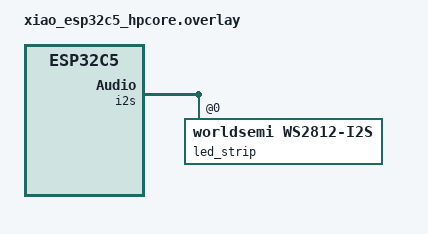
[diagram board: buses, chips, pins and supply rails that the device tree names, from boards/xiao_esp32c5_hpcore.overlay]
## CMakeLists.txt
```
# SPDX-License-Identifier: Apache-2.0

cmake_minimum_required(VERSION 3.20.0)

list(APPEND SNIPPET
  "wifi-credentials"
  "espressif-psram-8M"
  "espressif-psram-reloc" # Actually, there is no official support for this snippet on ESP32C5, yet.
  "espressif-psram-wifi"
)
set(SNIPPET "${SNIPPET}" CACHE STRING "Default snippets")

set(CONFIG_BUILD_OUTPUT_META y CACHE STRING "Enable build output metadata for SPDX")

find_package(Zephyr REQUIRED HINTS $ENV{ZEPHYR_BASE})
project(zephyr-wifi-led-mcp)

option(INCLUDE_HTML_CONTENT "Include the HTML content" ON)

target_link_libraries(app PRIVATE zephyr_interface zephyr)

# Include external headers
zephyr_include_directories(include)

# Include external utils
include(${ZEPHYR_BASE}/samples/net/common/common.cmake)

zephyr_linker_sources(SECTIONS sections-rom.ld)
zephyr_linker_section(
  NAME http_resource_desc_led_http_service
  KVMA RAM_REGION GROUP RODATA_REGION
)

# Generate web_assets.h from static web resources
add_custom_command(
  OUTPUT ${CMAKE_CURRENT_SOURCE_DIR}/include/web_assets.h
  COMMAND ${PYTHON_EXECUTABLE} ${CMAKE_CURRENT_SOURCE_DIR}/src/static_web_resources/embed_assets.py
  WORKING_DIRECTORY ${CMAKE_CURRENT_SOURCE_DIR}/src/static_web_resources
  DEPENDS
    ${CMAKE_CURRENT_SOURCE_DIR}/src/static_web_resources/index.html
    ${CMAKE_CURRENT_SOURCE_DIR}/src/static_web_resources/style.css
    ${CMAKE_CURRENT_SOURCE_DIR}/src/static_web_resources/app.js
    ${CMAKE_CURRENT_SOURCE_DIR}/src/static_web_resources/embed_assets.py
  COMMENT "Generating web_assets.h from static web resources"
)
add_custom_target(generate_web_assets DEPENDS ${CMAKE_CURRENT_SOURCE_DIR}/include/web_assets.h)
add_dependencies(app generate_web_assets)

FILE(GLOB app_sources src/*.c)
target_sources(app PRIVATE ${app_sources})
```

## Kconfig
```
# Copyright (c) 2019 Nordic Semiconductor ASA
# SPDX-License-Identifier: Apache-2.0

menu "WS2812 Configuration"

config LED_UPDATE_DELAY
	int "Delay between LED updates in ms"
	default 50
	help
	  Delay between LED updates in ms.

config LED_MATRIX_WIDTH
	int "Width of the LED matrix"
	default 16
	range 1 255
	help
	  Width of the LED matrix.

config LED_MATRIX_HEIGHT
	int "Height of the LED matrix"
	default 16
	range 1 255
	help
	  Height of the LED matrix.

config LED_MATRIX_PIXELS
	int "Number of pixels in the LED matrix"
	default 256
	range 1 65536
	help
	  Number of pixels in the LED matrix.

config WHITE_LED_BRIGHTNESS
	int "White LED brightness"
	default 15
	range 1 255
	help
	  Brightness level of the white LED settings (all RGB on). Defaults to a low value to avoid blinding
	  the user and issue with the power supply, due to the WS2812 LEDs draw more current when all are on.

config DEFAULT_LED_BRIGHTNESS
	int "Default LED brightness"
	default 15
	range 1 255
	help
	  Brightness level of each LED. Defaults to a low value to make
	  it easier to distinguish colors.

endmenu

menu "HTTP Service Configuration"

config NET_SAMPLE_HTTP_SERVICE
	bool "Enable http service"
	default y

config NET_SAMPLE_HTTP_SERVER_SERVICE_PORT
	int "Port number for http service"
	default 80
	depends on NET_SAMPLE_HTTP_SERVICE

endmenu

source "Kconfig.zephyr"
```

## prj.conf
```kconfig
# CONFIG_EARLY_CONSOLE=y

CONFIG_NETWORKING=y
CONFIG_TEST_RANDOM_GENERATOR=y

# CONFIG_MAIN_STACK_SIZE=5200
CONFIG_MAIN_STACK_SIZE=6000
CONFIG_SHELL_STACK_SIZE=5200
CONFIG_NET_TX_STACK_SIZE=4096
CONFIG_NET_RX_STACK_SIZE=4096

CONFIG_NET_MAX_CONTEXTS=16
CONFIG_NET_PKT_RX_COUNT=16
CONFIG_NET_PKT_TX_COUNT=16
CONFIG_NET_BUF_RX_COUNT=32
CONFIG_NET_BUF_TX_COUNT=32

CONFIG_NET_DHCPV4=y

CONFIG_NET_IPV4=y
CONFIG_NET_IPV6=n

CONFIG_NET_TCP=y

CONFIG_NET_LOG=y
CONFIG_INIT_STACKS=y

CONFIG_NET_SHELL=y

# CONFIG_NET_STATISTICS=y
# CONFIG_NET_STATISTICS_PERIODIC_OUTPUT=n

CONFIG_WIFI=y
CONFIG_WIFI_LOG_LEVEL_ERR=y
CONFIG_NET_L2_WIFI_SHELL=y
# printing of scan results puts pressure on queues in new locking
# design in net_mgmt. So, use a higher timeout for a crowded
# environment.
CONFIG_NET_MGMT_EVENT_QUEUE_TIMEOUT=5000
CONFIG_NET_MGMT_EVENT_QUEUE_SIZE=16

# Enable wifi statistics
CONFIG_NET_STATISTICS_WIFI=y
CONFIG_NET_STATISTICS_USER_API=y

# Wi-Fi Credentials Storage & Auto-Connect
CONFIG_WIFI_CREDENTIALS=y
CONFIG_WIFI_CREDENTIALS_CONNECT_STORED=y
CONFIG_FLASH=y
CONFIG_FLASH_PAGE_LAYOUT=y
CONFIG_FLASH_MAP=y
CONFIG_NVS=y
CONFIG_SETTINGS=y
CONFIG_SETTINGS_NVS=y

# Using Net common functions
CONFIG_NET_CONNECTION_MANAGER=y

# Issue related: <err> esp32c5_wifi_adapter: memory allocation failed
# CONFIG_HEAP_MEM_POOL_SIZE=61440 (new value in MCP)

### 
# ZBUS
###
CONFIG_ZBUS=y

### 
# LED Strip
###
CONFIG_LOG=y
CONFIG_LED_STRIP=y
CONFIG_LED_STRIP_LOG_LEVEL_DBG=y

###
# MCP
###
# MCP Server library
CONFIG_MCP_SERVER=y
CONFIG_MCP_MAX_TOOLS=4
CONFIG_MCP_REQUEST_WORKERS=2
CONFIG_MCP_SERVER_INFO_TITLE=y
CONFIG_MCP_SERVER_INFO_INSTRUCTIONS=n
CONFIG_MCP_TOOL_DESC=y
CONFIG_MCP_TOOL_TITLE=y
CONFIG_MCP_TOOL_OUTPUT_SCHEMA=n
CONFIG_MCP_TOOL_NAME_MAX_LEN=32
CONFIG_MCP_TOOL_SCHEMA_MAX_LEN=512
CONFIG_MCP_TOOL_INPUT_ARGS_MAX_LEN=512
CONFIG_MCP_TOOL_RESULT_MAX_LEN=256
CONFIG_MCP_LOG_LEVEL_DBG=y

CONFIG_MCP_HTTP_SSE_RETRY_MS=2000

# # RNG configuration
CONFIG_TEST_RANDOM_GENERATOR=y

# # Network configuration
# CONFIG_NETWORKING=y
# CONFIG_NET_IPV4=y
### CONFIG_NET_CONFIG_SETTINGS=y
CONFIG_NET_CONFIG_NEED_IPV4=y
# CONFIG_NET_DHCPV4=y

# # mDNS configs
CONFIG_MDNS_RESPONDER=y
CONFIG_NET_HOSTNAME_ENABLE=y
CONFIG_NET_HOSTNAME="mcp-led"

# # MCP HTTP server
CONFIG_MCP_HTTP_LOG_ADDRESS=y
CONFIG_MCP_HTTP_PORT=8080
CONFIG_MCP_HTTP_ENDPOINT="/mcp"
CONFIG_HTTP_SERVER_MAX_CLIENTS=3
CONFIG_HTTP_SERVER_MAX_STREAMS=3
CONFIG_HTTP_SERVER_MAX_HEADER_LEN=38

# # General configs
# CONFIG_HEAP_MEM_POOL_SIZE=65536
CONFIG_HEAP_MEM_POOL_SIZE=81920
# CONFIG_HEAP_MEM_POOL_SIZE=73728
CONFIG_KERNEL_MEM_POOL=y

## Test Thread Analyzer
# CONFIG_THREAD_ANALYZER=y
# CONFIG_THREAD_ANALYZER_AUTO=y
# CONFIG_THREAD_ANALYZER_USE_PRINTK=y
# CONFIG_THREAD_ANALYZER_AUTO_INTERVAL=10

# Enable reboot command in shell
CONFIG_REBOOT=y

## Optimization
CONFIG_SHELL_STACK_SIZE=2048
CONFIG_SYSTEM_WORKQUEUE_STACK_SIZE=2048
CONFIG_MAIN_STACK_SIZE=3072

###
# Adding HTTP Server
###
# HTTP parser
CONFIG_HTTP_PARSER_URL=y
CONFIG_HTTP_PARSER=y
CONFIG_HTTP_SERVER=y
# Networking & Sockets
CONFIG_NET_SOCKETS=y

# HTTP Server Library
CONFIG_HTTP_SERVER=y
CONFIG_HTTP_PARSER=y

# HTTP Server error: Out of connection contexts
# Sets TIME-WAIT duration in ms
CONFIG_NET_TCP_TIME_WAIT_DELAY=1500
CONFIG_ZVFS_EVENTFD_MAX=3
CONFIG_ZVFS_POLL_MAX=6
CONFIG_NET_MAX_CONN=16

# Enable Service Discover for mDNS
CONFIG_DNS_SD=y
CONFIG_MDNS_RESPONDER_DNS_SD=y
CONFIG_NET_SOCKETS=y
CONFIG_POSIX_API=y
CONFIG_NET_SOCKETS_SERVICE_STACK_SIZE=2048

# previous net_socket_service is 2048 and the use in Technaid is 86%
CONFIG_NET_SOCKETS_SERVICE_STACK_SIZE=4096

CONFIG_ESP32_WIFI_TASK_STACK_SIZE=4096
```

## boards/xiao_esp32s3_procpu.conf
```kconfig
CONFIG_SPIRAM_MODE_OCT=y

CONFIG_NET_PKT_RX_COUNT=32
CONFIG_NET_PKT_TX_COUNT=32
CONFIG_NET_BUF_RX_COUNT=64
CONFIG_NET_BUF_TX_COUNT=64
CONFIG_HEAP_MEM_POOL_SIZE=100000
CONFIG_NET_TX_STACK_SIZE=4096
CONFIG_NET_RX_STACK_SIZE=4096

# Issue with two or more wifi credential stored
CONFIG_SHELL_STACK_SIZE=3072
# CONFIG_LOG_PROCESS_THREAD_STACK_SIZE=1024
```

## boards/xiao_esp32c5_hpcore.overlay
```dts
/*
 * Copyright (c) 2024-2025 Espressif Systems (Shanghai) Co., Ltd.
 *
 * SPDX-License-Identifier: Apache-2.0
 */

#include <zephyr/dt-bindings/led/led.h>

/ {
	aliases {
		led-strip = &led_strip;
	};
};

&pinctrl {
	i2s_default: i2s_default {
		group1 {
			pinmux = <I2S_O_SD_GPIO8>;
		};
	};
};

&i2s {
	pinctrl-0 = <&i2s_default>;
	pinctrl-names = "default";
};

i2s_led: &i2s {
	status = "okay";

	dmas = <&dma 3>;
	dma-names = "tx";

	led_strip: ws2812@0 {
		compatible = "worldsemi,ws2812-i2s";

		reg = <0>;
		chain-length = <256>;
		color-mapping = <LED_COLOR_ID_GREEN
				 LED_COLOR_ID_RED
				 LED_COLOR_ID_BLUE>;
		reset-delay = <500>;
	};
};

&dma {
	status = "okay";
};
```

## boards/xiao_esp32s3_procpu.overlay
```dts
/*
 * Copyright (c) 2024-2025 Espressif Systems (Shanghai) Co., Ltd.
 *
 * SPDX-License-Identifier: Apache-2.0
 */

#include <zephyr/dt-bindings/led/led.h>

/ {
	aliases {
		led-strip = &led_strip;
	};
};

&pinctrl {
	i2s0_default: i2s0_default {
		group1 {
			pinmux = <I2S0_O_SD_GPIO7>;
		};
	};
};

&i2s0 {
	pinctrl-0 = <&i2s0_default>;
	pinctrl-names = "default";
};

i2s_led: &i2s0 {
	status = "okay";

	dmas = <&dma 3>;
	dma-names = "tx";

	led_strip: ws2812@0 {
		compatible = "worldsemi,ws2812-i2s";

		reg = <0>;
		chain-length = <256>;
		color-mapping = <LED_COLOR_ID_GREEN
				 LED_COLOR_ID_RED
				 LED_COLOR_ID_BLUE>;
		reset-delay = <500>;
	};
};

&dma {
	status = "okay";
};
```

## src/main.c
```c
/**
 * Copyright (c) 2026 Andres Camilo Román Vargas
 *
 * @file main.c
 * @author Andres C. Román V. (camilo.vargas@technaid.com gh: @andrescvargasr)
 * @brief
 * @version 1.1
 * @date 2026-07-24
 *
 * Main application entry point for MCP, LED, and Wi-Fi interfaces.
 *
 * SPDX-License-Identifier: MIT
 */

#include <zephyr/kernel.h>
#include <zephyr/sys/printk.h>
#include <zephyr/logging/log.h>
#include <zephyr/net/net_if.h>
#include <zephyr/net/net_mgmt.h>
#include <zephyr/net/wifi_mgmt.h>

#if defined(CONFIG_WIFI_CREDENTIALS)
#include <zephyr/net/wifi_credentials.h>
#endif

#if defined(CONFIG_ESP_SPIRAM)
#include <esp_psram.h>
#include <soc/soc_memory_layout.h>
#include <zephyr/multi_heap/shared_multi_heap.h>
#endif

// MCP Server
#include "mcp_server.h"

// HTTP Server
#include <stdio.h>
#include <inttypes.h>

#include <zephyr/net/http/server.h>
#include <zephyr/net/http/service.h>
#include <zephyr/net/net_ip.h>
#include <zephyr/net/socket.h>
#include <zephyr/sys/util.h>
#include <zephyr/data/json.h>
#include <zephyr/sys/util_macro.h>
#include <zephyr/net/net_config.h>
#include "web_assets.h"

// mDNS
#include "mdns_service.h"

#include "params.h"
#include <zephyr/zbus/zbus.h>
#include "led_zbus.h"

// Include external utils
#include "net_sample_common.h"

LOG_MODULE_REGISTER(wifi_test, LOG_LEVEL_INF);

// HTTP Server

struct led_command {
    uint32_t r;
    uint32_t g;
    uint32_t b;
	uint32_t index;
    bool rainbow;
};

static const struct json_obj_descr led_command_descr[] = {
	JSON_OBJ_DESCR_PRIM(struct led_command, r, JSON_TOK_NUMBER),
	JSON_OBJ_DESCR_PRIM(struct led_command, g, JSON_TOK_NUMBER),
	JSON_OBJ_DESCR_PRIM(struct led_command, b, JSON_TOK_NUMBER),
	JSON_OBJ_DESCR_PRIM(struct led_command, index, JSON_TOK_NUMBER),
	JSON_OBJ_DESCR_PRIM(struct led_command, rainbow, JSON_TOK_TRUE),
};

/* Handlers to return files with correct Content-Type and Gzip headers */

// index.html
static struct http_resource_detail_static index_html_gz_resource_detail = {
	.common = {
			.type = HTTP_RESOURCE_TYPE_STATIC,
			.bitmask_of_supported_http_methods = BIT(HTTP_GET),
			.content_encoding = "gzip",
			.content_type = "text/html",
		},
	.static_data = index_html_gz,
	// .static_data_len = sizeof(index_html_gz),
	.static_data_len = index_html_gz_len,
};

// app.js
static struct http_resource_detail_static app_js_gz_resource_detail = {
	.common = {
			.type = HTTP_RESOURCE_TYPE_STATIC,
			.bitmask_of_supported_http_methods = BIT(HTTP_GET),
			.content_encoding = "gzip",
			.content_type = "text/javascript",
		},
	.static_data = app_js_gz,
	.static_data_len = app_js_gz_len,
	// .static_data_len = sizeof(app_js_gz),
};

// style.css
static struct http_resource_detail_static style_css_gz_resource_detail = {
	.common = {
			.type = HTTP_RESOURCE_TYPE_STATIC,
			.bitmask_of_supported_http_methods = BIT(HTTP_GET),
			.content_encoding = "gzip",
			.content_type = "text/css",
		},
	.static_data = style_css_gz,
	.static_data_len = style_css_gz_len,
};

// ping
static const char ping_response[] = "pong";

static struct http_resource_detail_static ping_resource_detail = {
	.common = {
			.type = HTTP_RESOURCE_TYPE_STATIC,
			.bitmask_of_supported_http_methods = BIT(HTTP_GET) | BIT(HTTP_HEAD) | BIT(HTTP_POST),
			.content_type = "text/plain",
		},
	.static_data = ping_response,
	.static_data_len = sizeof(ping_response) - 1,
};


static void parse_led_post(uint8_t *buf, size_t len)
{
	int ret;
	struct led_command cmd;
	const int expected_return_code = BIT_MASK(ARRAY_SIZE(led_command_descr));

	ret = json_obj_parse(buf, len, led_command_descr, ARRAY_SIZE(led_command_descr), &cmd);
	if (ret != expected_return_code) {
		LOG_WRN("Failed to fully parse JSON payload, ret=%d", ret);
		return;
	}

	LOG_DBG("POST request setting LED to state r: %d, g: %d, b: %d, index: %d, rainbow: %s", cmd.r, cmd.g, cmd.b, cmd.index, cmd.rainbow ? "true" : "false");

	// If r,g,b is greater than CONFIG_WHITE_LED_BRIGHTNESS to built white color, clamp it
	uint8_t brightness = CONFIG_WHITE_LED_BRIGHTNESS;
	if (cmd.r > brightness && cmd.g > brightness && cmd.b > brightness) {
		cmd.r = brightness;
		cmd.g = brightness;
		cmd.b = brightness;
	}

	struct led_msg msg = {
		.action = LED_ACTION_CUSTOM,
		.r = (uint8_t)CLAMP(cmd.r, 0, 255),
		.g = (uint8_t)CLAMP(cmd.g, 0, 255),
		.b = (uint8_t)CLAMP(cmd.b, 0, 255),
		.index = (uint16_t)CLAMP(cmd.index, 0, CONFIG_LED_MATRIX_PIXELS),
		.rainbow = cmd.rainbow
	};

	int pub_rc = zbus_chan_pub(&led_chan, &msg, K_MSEC(200));
	if (pub_rc != 0) {
		LOG_ERR("Failed to publish LED command to Zbus: %d", pub_rc);
	}
}

static int led_handler(struct http_client_ctx *client, enum http_transaction_status status,
		       const struct http_request_ctx *request_ctx,
		       struct http_response_ctx *response_ctx, void *user_data)
{
	static uint8_t post_payload_buf[64];
	static size_t cursor;

	LOG_DBG("LED handler status %d, size %zu", status, request_ctx->data_len);

	if (status == HTTP_SERVER_TRANSACTION_ABORTED ||
	    status == HTTP_SERVER_TRANSACTION_COMPLETE) {
		cursor = 0;
		return 0;
	}

	if (client->method == HTTP_GET) {
		LOG_INF("GET request on LED resource");
		return 0;
	}

	if (request_ctx->data_len + cursor > sizeof(post_payload_buf)) {
		cursor = 0;
		return -ENOMEM;
	}

	/* Copy payload to our buffer. Note that even for a small payload, it may arrive split into
	 * chunks (e.g. if the header size was such that the whole HTTP request exceeds the size of
	 * the client buffer).
	 */
	memcpy(post_payload_buf + cursor, request_ctx->data, request_ctx->data_len);
	cursor += request_ctx->data_len;

	if (status == HTTP_SERVER_REQUEST_DATA_FINAL) {
		parse_led_post(post_payload_buf, cursor);
		cursor = 0;
	}

	return 0;
}

// LED POST & GET
static struct http_resource_detail_dynamic led_resource_detail = {
	.common = {
			.type = HTTP_RESOURCE_TYPE_DYNAMIC,
			.bitmask_of_supported_http_methods = BIT(HTTP_GET) | BIT(HTTP_POST),
		},
	.cb = led_handler,
	.user_data = NULL,
};

/* Define HTTP Service */
static uint16_t led_http_service_port = CONFIG_NET_SAMPLE_HTTP_SERVER_SERVICE_PORT;
HTTP_SERVICE_DEFINE(led_http_service, NULL, &led_http_service_port,
		    CONFIG_HTTP_SERVER_MAX_CLIENTS, 10, NULL, NULL, NULL);
/* Register static endpoints */
HTTP_RESOURCE_DEFINE(index_html_gz_resource, led_http_service, "/",
		     &index_html_gz_resource_detail);
HTTP_RESOURCE_DEFINE(app_js_gz_resource, led_http_service, "/app.js",
		     &app_js_gz_resource_detail);
HTTP_RESOURCE_DEFINE(style_css_gz_resource, led_http_service, "/style.css",
		     &style_css_gz_resource_detail);

/* Register API Endpoint */
HTTP_RESOURCE_DEFINE(res_api_led, led_http_service, "/api/led", &led_resource_detail);
HTTP_RESOURCE_DEFINE(res_ping, led_http_service, "/api/ping", &ping_resource_detail);

/**
 * @brief Auto-connect to Wi-Fi using credentials saved in flash memory.
 *
 * @return 0 on success, or negative error code on failure.
 */
int auto_connect(void)
{
	struct net_if *iface = net_if_get_wifi_sta();

	if (!iface) {
		LOG_ERR("No Wi-Fi STA interface available for auto-connect");
		return -ENODEV;
	}

#if defined(CONFIG_WIFI_CREDENTIALS)
	if (wifi_credentials_is_empty()) {
		LOG_INF("No stored Wi-Fi credentials found in flash memory");
		return -ENOENT;
	}
#endif

	LOG_INF("Attempting auto-connect with stored Wi-Fi credentials...");
	int ret = net_mgmt(NET_REQUEST_WIFI_CONNECT_STORED, iface, NULL, 0);

	if (ret != 0) {
		LOG_ERR("Auto-connect request failed (err: %d)", ret);
	} else {
		LOG_INF("Auto-connect request submitted successfully");
	}

	return ret;
}

int main(void)
{
#if defined(CONFIG_ESP_SPIRAM)
	if (esp_psram_is_initialized()) {
		printk("PSRAM size: %zu bytes (%zu MB)\n",
		       esp_psram_get_size(),
		       esp_psram_get_size() / (1024 * 1024));
	} else {
		printk("PSRAM is not initialized\n");
	}

#elif DT_NODE_EXISTS(DT_NODELABEL(psram0))
	printk("PSRAM node size (not used): %u bytes (%u MB)\n",
	       DT_PROP(DT_NODELABEL(psram0), size),
	       DT_PROP(DT_NODELABEL(psram0), size) / (1024 * 1024));
#else
	LOG_WRN("PSRAM not available");
#endif

	LOG_INF("Starting Wi-Fi MCP LED Server application...");

	/* Trigger auto-connect on startup */
	auto_connect();

	LOG_INF("Waiting for Wi-Fi connection and IP address");
	wait_for_network();	// From Zephyr net/common in CMakeLists.txt

	LOG_INF("Wi-Fi connected! Set MCP server");
	mcp_server();

	LOG_INF("Set HTTP server");
	http_server_start();
	
	LOG_INF("Set mDNS service");
	mdns_service();

	return 0;
}
```

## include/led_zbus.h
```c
/**
 * Copyright (c) 2026 Andrés Camilo Román Vargas
 *
 * @file led_zbus.h
 * @author Andres C. Román V. (camilo.vargas@technaid.com gh: @andrescvargasr)
 * @brief Zbus channels and messages for LED strip control.
 * @version 0.1
 * @date 2026-07-28
 *
 * SPDX-License-Identifier: MIT
 */

#ifndef LED_ZBUS_H
#define LED_ZBUS_H

#include <zephyr/zbus/zbus.h>

enum led_action {
	LED_ACTION_OFF = 0,
	LED_ACTION_ON,
	LED_ACTION_TOGGLE,
	LED_ACTION_RED,
	LED_ACTION_GREEN,
	LED_ACTION_BLUE,
	LED_ACTION_CUSTOM,
};

struct led_msg {
	enum led_action action;
	uint8_t r;
	uint8_t g;
	uint8_t b;
	uint16_t index;
	bool rainbow;
};

struct led_ready_msg {
	bool is_ready;
	int status;
};

ZBUS_CHAN_DECLARE(led_chan);
ZBUS_CHAN_DECLARE(led_ready_chan);

#endif /* LED_ZBUS_H */
```

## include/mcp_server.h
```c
/**
 * Copyright (c) 2026 Andrés Camilo Román Vargas
 *
 * @file mcp_server.h
 * @author Andres C. Román V. (camilo.vargas@technaid.com gh: @andrescvargasr)
 * @brief MCP Server implementation.
 * @version 0.1
 * @date 2026-07-24
 *
 * SPDX-License-Identifier: MIT
 */

#ifndef MCP_SERVER_H
#define MCP_SERVER_H

#include "params.h"

int mcp_server(void);

#endif // End MCP_SERVER_H
```

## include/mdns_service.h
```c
/**
 * Copyright (c) 2026 Andrés Camilo Román Vargas
 *
 * @file mdns_service.h
 * @author Andres C. Román V. (camilo.vargas@technaid.com gh: @andrescvargasr)
 * @brief mDNS Service Discover.
 *      Requirements:
 *      - CONFIG_DNS_SD
 *      - CONFIG_MDNS_RESPONDER_DNS_SD
 *      - CONFIG_NET_SOCKETS
 *      - CONFIG_POSIX_API
 * @version 0.1
 * @date 2026-08-06
 *
 * SPDX-License-Identifier: MIT
 */

#ifndef MDNS_SERVICE_H
#define MDNS_SERVICE_H

void mdns_service(void);

#endif // End MCP_SERVER_H
```

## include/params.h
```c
/**
 * Copyright (c) 2026 Andrés Camilo Román Vargas
 *
 * @file params.h
 * @author Andres C. Román V. (camilo.vargas@technaid.com gh: @andrescvargasr)
 * @brief Call the libraries, constants and parameters for all the code.
 * @version 0.1
 * @date 2026-07-28
 *
 * SPDX-License-Identifier: MIT
 */

#ifndef PARAMS_H
#define PARAMS_H

#include <stdlib.h>        // EXIT_[SUCCESS, FAILURE]
#include <zephyr/kernel.h> // k_msleep()
#include <zephyr/device.h>
#include <zephyr/devicetree.h>

// Version control
#include <zephyr/app_version.h>

#include <zephyr/sys/printk.h>  // printk()
#include <zephyr/logging/log.h> // LOG_[ERR, WRN, INF, DBG]
#include <zephyr/drivers/pwm.h> // PWM_DT_SPEC_GET(), pwm_is_ready_dt()
// Serial Communication (UART)
#include <zephyr/drivers/uart.h>
#include <zephyr/sys/ring_buffer.h>

// Watchdog Timer (WDT)
#include <zephyr/drivers/watchdog.h>
// NVS
#include <zephyr/drivers/flash.h>
#include <zephyr/storage/flash_map.h>
// #include <zephyr/fs/nvs.h>
#include <zephyr/kvss/nvs.h>

/*******************************************************************************
 *  FIRMWARE VERSION AND CARD ID                                               *
 ******************************************************************************/
#ifdef APPVERSION
#define SOFTWARE_VERSION APP_VERSION_STRING // String format for SW version
// #define SOFTWARE_VERSION_SEMVER ((APP_VERSION_NUMBER) >> 4U)                                                      /* MAJOR.MINOR.PATCH [0xM.mm.P] */
#define SOFTWARE_VERSION_SEMVER ((APP_VERSION_MAJOR << 12U) + (APP_VERSION_MINOR << 4U) + (APP_PATCHLEVEL << 0U)) /* MAJOR.MINOR.PATCH [0xM.mm.P] */
#else
#define SOFTWARE_VERSION "v0.20.1"      // String format for SW version
#define SOFTWARE_VERSION_SEMVER 0x0141U /* MAJOR.MINOR.PATCH [0xM.mm.P] */
#endif

#define HARDWARE_VERSION_SEMVER 0x0010U   /* MAJOR.MINOR.PATCH [0xM.mm.P] */
#define RELEASE_VERSION_SEMVER 0x0010U    /* MAJOR.MINOR.PATCH [0xM.mm.P] */
#define DESCRIPTOR_VERSION_SEMVER 0x1000U /* MAJOR.MINOR.PATCH [0xM.mm.P] */

#define KIND_ID 83    // 'S' in ASCII DEC (0x53) for Tech'S'tim := Stimulation
#define DEFAULT_ID 65 // 'A' in ASCII DEC (0x41) for first device A = 0
#define PRODUCT_ID (((KIND_ID) << 8) | (DEFAULT_ID))

/*******************************************************************************
 *  DEVICE DESCRIPTOR                                                          *
 ******************************************************************************/
typedef struct
{
    uint8_t len;                 // Device descriptor length
    uint16_t descriptor_version; // Device descriptor version
    uint8_t device_class;        //
    uint8_t device_subclass;
    uint8_t device_id;
    uint8_t device_protocol;
    uint16_t max_packetsize;
    uint16_t vendor;
    uint16_t product;
    uint16_t bcd_device;
    uint8_t serial_number;
    uint8_t ids;
    uint16_t hardware_version;
    uint16_t firmware_version;
    uint8_t w_ip[4];
    uint8_t protocol_supported;
    uint16_t can_id;
    uint16_t port;
    uint8_t byte_speed[3];
    uint8_t mac[6];
} device_descriptor_t;

/*******************************************************************************
 *  THREADS                                                                    *
 ******************************************************************************/
#define THD_LED // Enable WS2812B LED

/*******************************************************************************
 *  LOG                                                                        *
 ******************************************************************************/
/**
 * @brief
 * | LEVEL            | SEVERITY  | MACRO         |
 * | ---------------- | --------- | ------------- |
 * | 1 (most severe)  | Error     | LOG_LEVEL_ERR |
 * | 2                | Warning   | LOG_LEVEL_WRN |
 * | 3                | Info      | LOG_LEVEL_INF |
 * | 4 (least severe) | Debug     | LOG_LEVEL_DBG |
 *
 */
#define LOG_EN_LEVEL 3             /* Enable level messages (default) */
#define LOG_EN_SERIAL_LEVEL 3      /* Enable level msgs in Serial WQ */
#define LOG_EN_WORKQ_LEVEL 3       /* Enable level msgs in Serial WQ */
#define LOG_EN_NVS_LEVEL 3         /* Enable level msgs in thd_nvs */
#define LOG_EN_STIMULATION_LEVEL 3 /* Enable level msgs in thd_stimulation*/
#define LOG_EN_DAC_LEVEL 3         /* Enable level msgs in dac_module */
#define LOG_EN_SWITCH_LEVEL 3      /* Enable level msgs in switch_module */
#define LOG_EN_TIMER_LEVEL 3       /* Enable level msgs in timer_module */

/*******************************************************************************
 *  DELAY                                                                      *
 ******************************************************************************/
#define MIN_DELAY 100
#define MAX_DELAY 1000

/*******************************************************************************
 *  TIMER EVENTS                                                               *
 ******************************************************************************/
#define TIMER_PERIOD_EVENT 0x001
#define TIMER_DELAY_EVENT 0x002
#define TIMER_GROUP_FREQUENCY_EVENT 0x003

/*******************************************************************************
 *  DEFINE MINIMUM, MAXIMUM RANGES AND DEFAULT VALUES                          *
 ******************************************************************************/
#define MAX_PARAMS 68 // [A-Z][AA-AZ][BA-BP]

#define MIN_AMP_RANGE 1   // [mA]
#define MAX_AMP_RANGE 100 // [mA]

#define MIN_PERIOD_RANGE 100  // [us] (Check 2 us - too small, IRQ > 19 us)
#define MAX_PERIOD_RANGE 1000 // [us]

#define MIN_FREQ_RANGE 1   // [Hz] (Check 1 Hz)
#define MAX_FREQ_RANGE 200 // [Hz] (Check for 200 Hz)

#define MIN_RAMP 1    // [ms] (Check 1 ms)
#define MAX_RAMP 1000 // [ms] (Check for 1000 ms)

#define MIN_REP_RANGE 1 // [single, double, triple]
#define MAX_REP_RANGE 3 // [single, double, triple]

// Dafault values
#define ORDER_VALUES 0x00E4U
#define INVERSE_RANGE 0    // [0 = false, 1 = true]
#define STIMULATION_MODE 0 // [0 = symmetrical, 1 = asymmetrical]

#define NO_ERRORS 0x0000 // Value to indicate No Errors in the system

/*******************************************************************************
 *  DEFINE PARAMETERS INDEXES                                                  *
 ******************************************************************************/
#define PARAM_POS_AMP_1 0  // A - Positive amplitude pulse 1 [0 - 100 mA]
#define PARAM_NEG_AMP_1 1  // B - Negative amplitude pulse 1 [0 - 100 mA]
#define PARAM_POS_TIME_1 2 // C - Positive time pulse 1 [100 - 1000 us]
#define PARAM_NEG_TIME_1 3 // D - Negative time pulse 1 [100 - 1000 us]

#define PARAM_POS_AMP_2 4  // E - Positive amplitude pulse 2 [0 - 100 mA]
#define PARAM_NEG_AMP_2 5  // F - Negative amplitude pulse 2 [0 - 100 mA]
#define PARAM_POS_TIME_2 6 // G - Positive time pulse 2 [100 - 1000 us]
#define PARAM_NEG_TIME_2 7 // H - Negative time pulse 2 [100 - 1000 US]

#define PARAM_POS_AMP_3 8   // I - Positive amplitude pulse 3 [0 - 100 mA]
#define PARAM_NEG_AMP_3 9   // J - Negative amplitude pulse 3 [0 - 100 mA]
#define PARAM_POS_TIME_3 10 // K - Positive time pulse 3 [100 - 1000 us]
#define PARAM_NEG_TIME_3 11 // L - Negative time pulse 3 [100 - 1000 us]

#define PARAM_POS_AMP_4 12  // M - Positive amplitude pulse 4 [0 - 100 mA]
#define PARAM_NEG_AMP_4 13  // N - Negative amplitude pulse 4 [0 - 100 mA]
#define PARAM_POS_TIME_4 14 // O - Positive time pulse 4 [100 - 1000 us]
#define PARAM_NEG_TIME_4 15 // P - Negative time pulse 4 [100 - 1000 us]

#define PARAM_ORDER_CHANNELS 16 // Q - Order channels
#define PARAM_REPETITIONS 17    // R - Repetitions [single, double, triple]
#define PARAM_INV_PULSE 18      // S - Reverse pulse position

#define PARAM_UMBRAL_MOTOR_1 19 // T - Umbral motor channel 1
#define PARAM_UMBRAL_MOTOR_2 20 // U - Umbral motor channel 2
#define PARAM_UMBRAL_MOTOR_3 21 // V - Umbral motor channel 3
#define PARAM_UMBRAL_MOTOR_4 22 // W - Umbral motor channel 4

#define PARAM_UMBRAL_COMFORT_1 23 // X - Umbral comfort channel 1
#define PARAM_UMBRAL_COMFORT_2 24 // Y - Umbral comfort channel 2
#define PARAM_UMBRAL_COMFORT_3 25 // Z - Umbral comfort channel 3
#define PARAM_UMBRAL_COMFORT_4 26 // AA - Umbral comfort channel 4

#define PARAM_MIN_CURRENT_1 27 // AB - Min current channel 1 [comfort - motor]
#define PARAM_MIN_CURRENT_2 28 // AC - Min current channel 2 [comfort - motor]
#define PARAM_MIN_CURRENT_3 29 // AD - Min current channel 3 [comfort - motor]
#define PARAM_MIN_CURRENT_4 30 // AE - Min current channel 4 [comfort - motor]

#define PARAM_MAX_CURRENT_1 31 // AF - Max current channel 1 [comfort - motor]
#define PARAM_MAX_CURRENT_2 32 // AG - Max current channel 2 [comfort - motor]
#define PARAM_MAX_CURRENT_3 33 // AH - Max current channel 3 [comfort - motor]
#define PARAM_MAX_CURRENT_4 34 // AI - Max current channel 4 [comfort - motor]

#define PARAM_INTRA_FREQ 35 // AJ - Intragroup Frequency [1 - 200 Hz]
#define PARAM_GROUP_FREQ 36 // AK - Group Frequency [1 - 200 Hz]

#define PARAM_UPGRADE_RAMP 37   // AL - Upgrade Ramp [0 - 1000 us]
#define PARAM_DOWNGRADE_RAMP 38 // AM - Downgrade Ramp [0 - 1000 us]

#define PARAM_STIMULATION_MODE 39 // AN - Stimulation Mode [Sym/Asym]

#define PARAM_DELAY 40 // AO - Delay for pulses [100 - 1000 us]

#define PARAM_DEVICE_ID 47        // AV - Device ID [PRODUCT_ID]
#define PARAM_FIRMWARE_VERSION 48 // AW - FW version [SOFTWARE_VERSION_SEMVER]
#define PARAM_ERROR 49            // AX - Errors
#define PARAM_STATUS 50           // AY - currently active services
#define PARAM_ENABLED 51          // AZ - enabled services (set by user)

#define PARAM_LOG_COUNTER (MAX_PARAMS - 1) // BP - Log Counter

#define PARAM_QUALIFIER PARAM_DEVICE_ID // Card ID index for the product

/*******************************************************************************
 *  FLAG DEFINITION                                                            *
 ******************************************************************************/
// PARAM_ERROR Flags
#define FLAG_CHANNEL_1_ERROR 0         // Channel 1 error
#define FLAG_CHANNEL_2_ERROR 1         // Channel 2 error
#define FLAG_CHANNEL_3_ERROR 2         // Channel 3 error
#define FLAG_CHANNEL_4_ERROR 3         // Channel 4 error
#define MASK_CHANNELS_ERROR 0b00001111 // Where are the bits for every channel

#define FLAG_POWER_SOURCE_ERROR 4 // the power supply is not enough
#define FLAG_DAC_ERROR 5          // DAC communication is failing
#define FLAG_SWITCH_ERROR 6       // Switch enable has a problem
#define FLAG_LOW_LOAD_ERROR 7     // Electrode impedance seems to be very low
#define FLAG_HIGH_LOAD_ERROR 8    // Electrode impedance seems to be very high
#define FLAG_FREQUENCY_ERROR 9    // The intragroup frequency is less than group frequency
// #define MASK_LOAD_ERROR 0b01110000 // where are the bit for other errors

// PARAM_STATUS & PARAM_ENABLED Flags
// the following flags are defined for PARAM_STATUS and PARAM_ENABLED
#define FLAG_CHANNEL_1 0         // Channel 1
#define FLAG_CHANNEL_2 1         // Channel 2
#define FLAG_CHANNEL_3 2         // Channel 3
#define FLAG_CHANNEL_4 3         // Channel 4
#define MASK_CHANNELS 0b00001111 // Where are the bits for every channel

// PARAM_ENABLED only
#define FLAG_STIMULATION_CONTROL 4  // Current control (default)
#define FLAG_RAMP_CONTROL 5         // TODO: Ramp control (Not implemented yet)
#define FLAG_PERIODIC_STIMULATION 6 // TODO: Stimulate for a setting time(Not implemented yet)

// PARAM_ORDER_CHANNELS
#define FLAG_ORDER_1_0 0        // Order pulse Flag (bit 0) for channel 1
#define FLAG_ORDER_1_1 1        // Order pulse Flag (bit 1) for channel 1
#define FLAG_ORDER_2_0 2        // Order pulse Flag (bit 0) for channel 2
#define FLAG_ORDER_2_1 3        // Order pulse Flag (bit 1) for channel 2
#define FLAG_ORDER_3_0 4        // Order pulse Flag (bit 0) for channel 3
#define FLAG_ORDER_3_1 5        // Order pulse Flag (bit 1) for channel 3
#define FLAG_ORDER_4_0 6        // Order pulse Flag (bit 0) for channel 4
#define FLAG_ORDER_4_1 7        // Order pulse Flag (bit 1) for channel 4
#define MASK_ORDER_1 0b00000011 // Where are the bits for channel 1
#define MASK_ORDER_2 0b00001100 // Where are the bits for channel 2
#define MASK_ORDER_3 0b00110000 // Where are the bits for channel 3
#define MASK_ORDER_4 0b11000000 // Where are the bits for channel 4
#define MASK_ORDER 0b11111111   // Where are the bits for every channel order

// PARAM_REPETITIONS
#define FLAG_REPETITIONS_1_0 0        // Order pulse Flag (bit 0) for channel 1
#define FLAG_REPETITIONS_1_1 1        // Order pulse Flag (bit 1) for channel 1
#define FLAG_REPETITIONS_2_0 2        // Order pulse Flag (bit 0) for channel 2
#define FLAG_REPETITIONS_2_1 3        // Order pulse Flag (bit 1) for channel 2
#define FLAG_REPETITIONS_3_0 4        // Order pulse Flag (bit 0) for channel 3
#define FLAG_REPETITIONS_3_1 5        // Order pulse Flag (bit 1) for channel 3
#define FLAG_REPETITIONS_4_0 6        // Order pulse Flag (bit 0) for channel 4
#define FLAG_REPETITIONS_4_1 7        // Order pulse Flag (bit 1) for channel 4
#define MASK_REPETITIONS_1 0b00000011 // Where are the bits for channel 1
#define MASK_REPETITIONS_2 0b00001100 // Where are the bits for channel 2
#define MASK_REPETITIONS_3 0b00110000 // Where are the bits for channel 3
#define MASK_REPETITIONS_4 0b11000000 // Where are the bits for channel 4
#define MASK_REPETITIONS 0b11111111   // Where are the bits for every channel order

// PARAM_INV_PULSE
#define NO_INV 0b00000000   // All the channels are in normal position
#define FLAG_INV_1 0        // Inverse pulse Flag for channel 1
#define FLAG_INV_2 2        // Inverse pulse Flag for channel 2
#define FLAG_INV_3 4        // Inverse pulse Flag for channel 3
#define FLAG_INV_4 6        // Inverse pulse Flag for channel 4
#define MASK_INV 0b01010101 // Where are the bits for every channel inverse

// value that should not be taken into account
// in case of error the parameter is set to this value
#define ERROR_VALUE -32768

/*******************************************************************************
 *  LOGGER                                                                     *
 ******************************************************************************/
#ifdef CONFIG_LOGS
#define LOG_INTERVAL 60 // Interval in (s) between logs logger
#else
#define LOG_INTERVAL (65535 / 1000) // Max 32 bits time log in (s)
#endif                              // End CONFIG_LOGS

#ifndef PARAM_LOG_COUNTER // Position to store number of logs in memory
#define PARAM_LOG_COUNTER (MAX_PARAMS - 1)
#endif // End PARAM_LOG_COUNTER

/*******************************************************************************
 *  WORKQUEUE THREAD                                                           *
 ******************************************************************************/
#define WORQ_THREAD_STACK_SIZE 512
#define WORKQ_LOWEST_PRIORITY CONFIG_NUM_PREEMPT_PRIORITIES // Lowest priority

#ifdef WORKQ_LOWEST_PRIORITY
#define WORKQ_PRIORITY K_PRIO_PREEMPT(WORKQ_LOWEST_PRIORITY)
#else
#define WORKQ_PRIORITY K_PRIO_PREEMPT(4)
#endif

/*******************************************************************************
 *  SERIAL                                                                     *
 ******************************************************************************/
#define SERIAL_BUFFER_LENGTH 64
#define SERIAL_MAX_PARAM_VALUE_LENGTH 32 // FIXME: It's not used
#define RECEIVE_TIMEOUT 16

// DMA & Ring buffer settings
#define RING_BUF_SIZE 64
#define RX_BUF_SIZE 10
// #ifdef SERIAL_BUFFER_LENGTH
// #define RX_BUF_SIZE SERIAL_BUFFER_LENGTH
// #else
// #define RX_BUF_SIZE 10
// #endif

// Call a uart extern variable
extern const struct device *uart;

#define MAX_TX_SERIAL_ERROR 10

/*******************************************************************************
 *  SERIAL THROUGH USB-CDC-UCM                                                 *
 ******************************************************************************/
extern struct ring_buf ring_buf; // To echo msg (main.c)
extern const struct device *const dev;
// USB-CDC-UCM or Serial communication
// printk("%s\r\n", tx_buffer);
#define SEND_SERIAL(tx_buffer, tx_buffer_len, err)            \
    do                                                        \
    {                                                         \
        if (CONFIG_USB_CDC_ACM)                               \
        {                                                     \
            size_t size_tx_buff =                             \
                tx_buffer_len +                               \
                snprintk(&tx_buffer[tx_buffer_len],           \
                         3, "\r\n");                          \
            while (ring_buf_space_get(&ring_buf) < 12)        \
                k_yield();                                    \
                                                              \
            ring_buf_put(&ring_buf, tx_buffer, size_tx_buff); \
            uart_irq_tx_enable(dev);                          \
        }                                                     \
        else                                                  \
        {                                                     \
            err = send_tx(tx_buffer, tx_buffer_len);          \
            if (err != 0)                                     \
            {                                                 \
                LOG_ERR("Serial TX doesn't work: %d", err);   \
            }                                                 \
        }                                                     \
    } while (0)

/*******************************************************************************
 *  WORKQUEUE THREAD                                                           *
 ******************************************************************************/
// FIFO pkt
typedef struct serial_pkt_recv
{
    char pkt_recv[SERIAL_BUFFER_LENGTH];
    size_t len_recv;
} serial_pkt_recv_t;

// Workqueue thd struct (main.c)
typedef struct work_serial_info
{
    struct k_work work;
    char name[25];
    serial_pkt_recv_t serial_pkt;
} work_serial_info_t;

// Workqueue thd struct (thd_0.c)
typedef struct work_info
{
    struct k_work work;
    char name[25];
} work_info_t;

/*******************************************************************************
 *  WORKQUEUE NVS MESSAGE                                                      *
 ******************************************************************************/
// All the parameters stored in the NVS
typedef struct data_nvs
{
    int16_t parameters[MAX_PARAMS];
} data_nvs_t;

// Parameter to send to NVS
typedef struct data_nvs_store
{
    size_t number;
    int16_t value;
} data_nvs_store_t;

// Time parameters to send to stimulation time thread
typedef struct stimulation_time_params
{
    int16_t on;
    int16_t off;
    int8_t iterations;
} stimulation_time_params_t;

// Mode parameters to send to stimulation time thread
typedef struct stimulation_mode_params
{
    int16_t enable;
} stimulation_mode_params_t;

/*******************************************************************************
 *  TIM THD                                                                    *
 ******************************************************************************/
// Call a led extern variable
extern const struct gpio_dt_spec led;

#endif // End PARAMS_H
```

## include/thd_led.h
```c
/**
 * Copyright (c) 2026 Andrés Camilo Román Vargas
 *
 * @file thd_led.h
 * @author Andres C. Román V. (camilo.vargas@technaid.com gh: @andrescvargasr)
 * @brief Thread for LED control and rainbow animation.
 * @version 0.1
 * @date 2026-07-24
 *
 * SPDX-License-Identifier: MIT
 */

#ifndef THD_LED_H
#define THD_LED_H

#include "params.h"
#include "led_zbus.h"

#ifdef THD_LED
// Thread
void thread_led(void* p1, void* p2, void* p3);
#endif // End THD_LED

#endif // End THD_LED_H
```

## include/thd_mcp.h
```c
/**
 * @file thd_mcp.h
 * @author Andres C. Vargas R. (camilo.vargas@technaid.com gh: @andrescvargasr)
 * @brief
 * @version 0.1
 * @date 2026-07-24
 *
 *
 */
#ifndef THD_MCP_H
#define THD_MCP_H

#include "params.h"

#ifdef THD_MCP
// Thread
int thread_mcp(void);
#endif // End THD_MCP

#endif // End THD_MCP_H
```

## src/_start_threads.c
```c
/**
 * Copyright (c) 2026 Andrés Camilo Román Vargas
 *
 * @file _start_threads.c
 * @author Andres C. Román V. (camilo.vargas@technaid.com gh: @andrescvargasr)
 * @brief
 * @version 1.0
 * @date 2026-07-24
 *
 * Define and initialize the Threads and Workqueues for the project.
 *
 * SPDX-License-Identifier: MIT
 */

// Parameters
#include "params.h"

// Threads
#ifdef THD_LED
#include "thd_led.h"
#define THD_LED_STACKSIZE 512 // Should always be a power of two.
#define THREAD_LED_PRIORITY K_PRIO_PREEMPT(2)
#define THD_LED_DELAY_MS 10 // ms
#endif // THD_LED

#define THD_STACKSIZE 512 // Should always be a power of two.

#define DELAY_THD 10 // ms

/******************************************************************************/
/*                          Zephyr Workqueue Table	                          */
/******************************************************************************/
// #ifdef THD_WQ
// K_THREAD_STACK_DEFINE(my_stack_area, WORQ_THREAD_STACK_SIZE * 2); // Check first thd_wq.c
// #endif

/******************************************************************************/
/*                          Zephyr Message Queue	                          */
/******************************************************************************/
// K_FIFO_DEFINE(my_fifo);

/******************************************************************************/
/*                          Zephyr Multithreading Table                       */
/******************************************************************************/
// #define THD_LED_STACKSIZE THD_STACKSIZE
// static Z_KERNEL_STACK_DEFINE_IN(thd_led_stack, THD_LED_STACKSIZE, __attribute__((section(".ext_ram.bss"))));

#ifdef THD_LED

/*
 * Thread LED Definition was moved to main file to use PSRAM
*/

K_THREAD_DEFINE(thd_led, THD_LED_STACKSIZE, thread_led, NULL, NULL, NULL,
				THREAD_LED_PRIORITY, 0, (0 * THD_LED_DELAY_MS));
#endif // End THD_LED
```

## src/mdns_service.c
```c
/**
 * Copyright (c) 2026 Andrés Camilo Román Vargas
 *
 * @file mdns_service.c
 * @author Andres C. Román V. (andresc.vargasr@gmail.com gh: @andrescvargasr)
 * @version 1.0
 * @date 2026-08-06
 *
 * @brief mDNS Service Discover.
 *
 * Note that mDNS support requires no application interaction with zephyr,
 * beyond optional runtime hostname configuration calls and setting
 * CONFIG_MDNS_RESPONDER=y.
 *
 * The service() function provides an echo server to make it possible to
 * verify that the IP address resolved by mDNS is the system that this
 * code is running upon.
 *
 * SPDX-License-Identifier: MIT
 */

#include <errno.h>
#include <zephyr/net/dns_sd.h>
#include <zephyr/net/socket.h>
#include <zephyr/posix/netinet/in.h>
#include <zephyr/posix/sys/socket.h>
#include <zephyr/posix/unistd.h>
#include <zephyr/posix/arpa/inet.h>
#include <stdint.h>
#include <stdio.h>
#include <string.h>
#include <zephyr/kernel.h>

#include <zephyr/logging/log.h>
LOG_MODULE_REGISTER(mdns_echo_service, LOG_LEVEL_DBG);

/* A default port of 0 causes bind(2) to request an ephemeral port */
#define DEFAULT_PORT 0

static int welcome(int fd)
{
	static const char msg[] = "Bonjour, Zephyr world!\n";

	return send(fd, msg, sizeof(msg), 0);
}

static int echo_service(const struct sockaddr *server_addr)
{
	int r;
	int server_fd;
	int client_fd;
	socklen_t len;
	void *addrp;
	uint16_t *portp;
	struct sockaddr_storage client_addr;
	char addrstr[INET6_ADDRSTRLEN];
	uint8_t line[64];

	r = socket(server_addr->sa_family, SOCK_STREAM, 0);
	if (r == -1) {
		r = -errno;
		LOG_DBG("socket() failed (%d)", r);
		return r;
	}

	server_fd = r;
	LOG_DBG("server_fd is %d", server_fd);

	r = setsockopt(server_fd, SOL_SOCKET, SO_REUSEADDR, &(int){1}, sizeof(int));
	if (r == -1) {
		r = -errno;
		LOG_ERR("setsockopt() failed (%d)", r);
		close(server_fd);
		return r;
	}

	r = bind(server_fd, server_addr, sizeof(*server_addr));
	if (r == -1) {
		r = -errno;
		LOG_DBG("bind() failed (%d)", r);
		close(server_fd);
		return r;
	}

	if (server_addr->sa_family == AF_INET6) {
		addrp = &net_sin6((server_addr))->sin6_addr;
		portp = &net_sin6(server_addr)->sin6_port;
	} else {
		addrp = &net_sin(server_addr)->sin_addr;
		portp = &net_sin(server_addr)->sin_port;
	}

	inet_ntop(server_addr->sa_family, addrp, addrstr, sizeof(addrstr));
	LOG_DBG("bound to [%s]:%u", addrstr, ntohs(*portp));

	r = listen(server_fd, 1);
	if (r == -1) {
		r = -errno;
		LOG_DBG("listen() failed (%d)", r);
		close(server_fd);
		return r;
	}

	for (;;) {
		len = sizeof(client_addr);
		r = accept(server_fd, (struct sockaddr *)&client_addr, &len);
		if (r == -1) {
			LOG_DBG("accept() failed (%d)", errno);
			break;
		}

		client_fd = r;

		inet_ntop(server_addr->sa_family, addrp, addrstr, sizeof(addrstr));
		LOG_DBG("accepted connection from [%s]:%u", addrstr, ntohs(*portp));

		/* send a banner */
		r = welcome(client_fd);
		if (r == -1) {
			LOG_DBG("send() failed (%d)", errno);
			close(client_fd);
			continue;
		}

		for (;;) {
			/* echo 1 line at a time */
			r = recv(client_fd, line, sizeof(line), 0);
			if (r == -1) {
				LOG_DBG("recv() failed (%d)", errno);
				close(client_fd);
				break;
			}

			if (r == 0) {
				LOG_DBG("connection closed by peer");
				close(client_fd);
				break;
			}

			len = r;

			r = send(client_fd, line, len, 0);
			if (r == -1) {
				LOG_DBG("send() failed (%d)", errno);
				close(client_fd);
				break;
			}
		}
	}

	close(server_fd);

	return 0;
}

/* This is mainly here to bind to a port to get service advertisement
 * to work.. but since we're already here we might as well do something
 * useful.
 */
void mdns_service()
{
	int r = 0;

	static struct sockaddr_storage server_addr;

#if DEFAULT_PORT == 0
	/* The advanced use case: ephemeral port */
#if defined(CONFIG_NET_IPV6)
	DNS_SD_REGISTER_SERVICE(mcp_server, CONFIG_NET_HOSTNAME,
				"_mcp_led", "_tcp", "local", DNS_SD_EMPTY_TXT,
				&((struct sockaddr_in6 *)&server_addr)->sin6_port);
#elif defined(CONFIG_NET_IPV4)
	DNS_SD_REGISTER_SERVICE(mcp_server, CONFIG_NET_HOSTNAME,
				"_mcp_led", "_tcp", "local", DNS_SD_EMPTY_TXT,
				&((struct sockaddr_in *)&server_addr)->sin_port);
#endif
#else
	/* The simple use case: fixed port */
	DNS_SD_REGISTER_TCP_SERVICE(mcp_server, CONFIG_NET_HOSTNAME,
				    "_mcp_led", "local", DNS_SD_EMPTY_TXT, DEFAULT_PORT);
#endif

	if (IS_ENABLED(CONFIG_NET_IPV6)) {
		net_sin6(net_sad(&server_addr))->sin6_family = AF_INET6;
		net_sin6(net_sad(&server_addr))->sin6_addr = in6addr_any;
		net_sin6(net_sad(&server_addr))->sin6_port = sys_cpu_to_be16(DEFAULT_PORT);
	} else if (IS_ENABLED(CONFIG_NET_IPV4)) {
		net_sin(net_sad(&server_addr))->sin_family = AF_INET;
		net_sin(net_sad(&server_addr))->sin_addr.s_addr = htonl(INADDR_ANY);
		net_sin(net_sad(&server_addr))->sin_port = sys_cpu_to_be16(DEFAULT_PORT);
	} else {
		__ASSERT(false, "Neither IPv6 nor IPv4 are enabled");
	}

	while (r == 0) {
		r = echo_service((struct sockaddr *)&server_addr);
		if (r < 0) {
			LOG_ERR("Fatal echo server error, %d", r);
		}
	}
}
```
